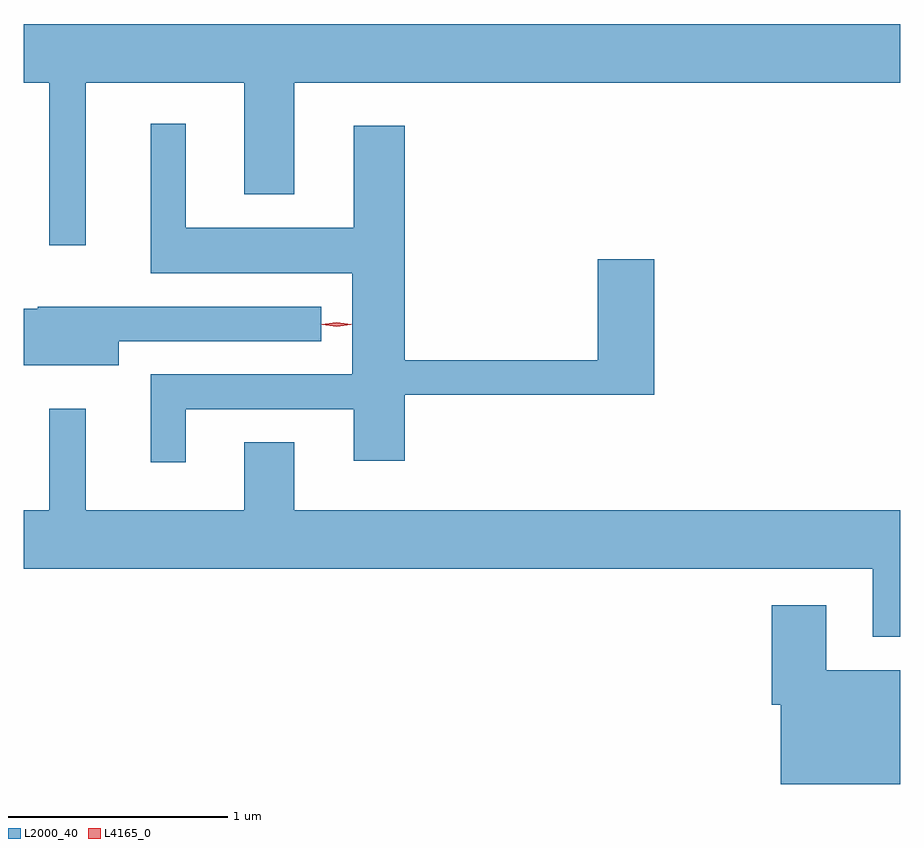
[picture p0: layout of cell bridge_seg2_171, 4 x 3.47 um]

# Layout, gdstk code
import gdstk
lib = gdstk.Library(unit=1e-6, precision=1e-09)
def P(c, l, *ps):  # polygons
    for p in ps: c.add(gdstk.Polygon(p, *l))
L2000_40 = (2000, 40)
L4165_0 = (4165, 0)

bridge_seg2_171 = lib.new_cell('bridge_seg2_171')
P(bridge_seg2_171, L2000_40, [(675.799,1003.916),(676.521,1003.916),(676.521,1003.406),(676.749,1003.406),(676.749,1003.916),(679.516,1003.916),(679.516,1004.184),(675.516,1004.184),(675.516,1003.916),(675.631,1003.916),(675.631,1003.173),(675.799,1003.173)],
  [(676.254,1002.426),(677.021,1002.426),(677.021,1002.191),(677.254,1002.191),(677.254,1002.491),(678.394,1002.491),(678.394,1003.109),(678.136,1003.109),(678.136,1002.649),(677.254,1002.649),(677.254,1003.719),(677.021,1003.719),(677.021,1003.254),(676.254,1003.254),(676.254,1003.728),(676.096,1003.728),(676.096,1003.046),(677.016,1003.046),(677.016,1002.584),(676.096,1002.584),(676.096,1002.183),(676.254,1002.183)],
  [(675.949,1002.736),(676.873,1002.736),(676.873,1002.894),(675.58,1002.894),(675.58,1002.884),(675.516,1002.884),(675.516,1002.626),(675.949,1002.626)],
  [(679.516,1001.964),(676.749,1001.964),(676.749,1002.274),(676.521,1002.274),(676.521,1001.964),(675.799,1001.964),(675.799,1002.428),(675.631,1002.428),(675.631,1001.964),(675.516,1001.964),(675.516,1001.696),(679.391,1001.696),(679.391,1001.386),(679.516,1001.386)],
  [(679.516,1001.234),(679.179,1001.234),(679.179,1001.529),(678.931,1001.529),(678.931,1001.076),(678.971,1001.076),(678.971,1000.714),(679.516,1000.714)])
P(bridge_seg2_171, L4165_0, [(676.943,1002.801),(676.878,1002.811),(676.877,1002.811),(676.878,1002.812),(676.943,1002.821),(677.009,1002.811),(677.009,1002.811),(677.009,1002.81)],
  [(676.943,1002.803),(676.874,1002.813),(676.874,1002.813),(676.874,1002.814),(676.943,1002.823),(677.012,1002.814),(677.013,1002.813),(677.012,1002.813)])

lib.write_gds('bridge_seg2_171.gds')
